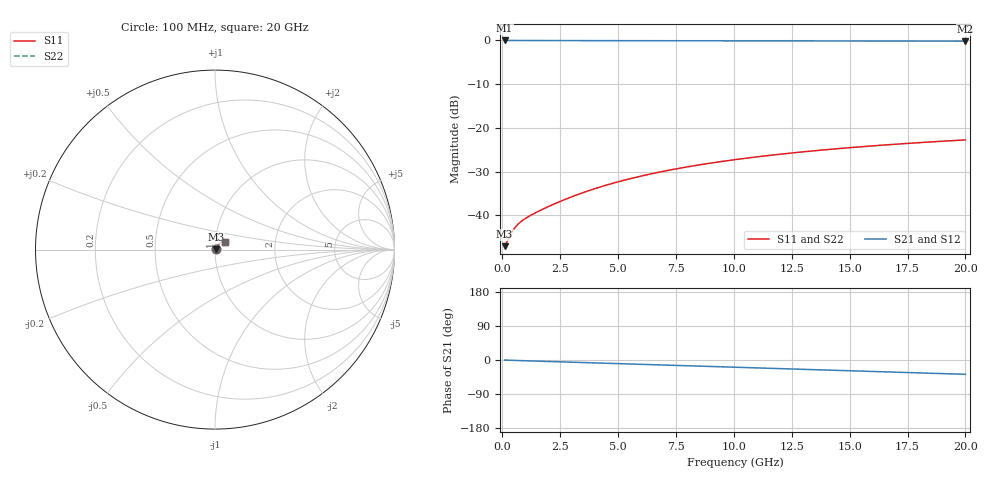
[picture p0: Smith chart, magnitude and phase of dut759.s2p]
! Touchstone file exported from HFSS 2026.1.0
!  File:  C:/ffzhzh/LocalFiles/Ansys_Project_Files/temp_train_BSMRDL_759_1783168992_43440.aedt
!  Generated:  08:44:18 PM Jul  4, 2026
!  Design:  BSMRDL
!  Project:  temp_train_BSMRDL_759_1783168992_43440
! Variables:
!  h_bsmrdl = 2.56um
!  h_ox = 20um
!  h_rdl = 5um
!  h_sub = 80um
!  h_tmrdl = 5um
!  h_tsv = 80um
!  h_via = 3um
!  l_bsmrdl = 663.8um
!  l_sub = 1063.8um
!  l_tmrdl = 200um
!  m_sub = 200um
!  pitch = 27.59um
!  r_tsv = 6um
!  s_tmrdl = 10um
!  w_bsmrdl = 22.76um
!  w_sub = 500um
!  w_tmrdl = 12um
!  x_tsv_center1 = 206um
!  x_tsv_center2 = 892.56um
!  x_tsv_center3 = 1104.56um
!  x_tsv_center4 = 1791.12um
!  x_tsv_center5 = 2003.12um
!  x_tsv_center6 = 2689.68um
# GHz S MA R 50.000000
! Terminal data exported
! Port[1] = BSM_RDL1_1_T1
! Port[2] = BSM_RDL1_1_T2
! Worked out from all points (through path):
!   200 points, 100 MHz to 20 GHz, reference 50 ohm
!   highest |S21| = -0.04 dB at 100 MHz (marker M1); lowest = -0.2 dB at 20 GHz (marker M2)
!   group delay of S21, straight-line fit = 5.24 ps
!   lowest |S11| = -47.0 dB at 100 MHz (marker M3), VSWR 1.01, Z = 50.4 + j0.103 ohm
!   |S11| at or under -10 dB: start of sweep to end of sweep
!   |S22| runs from -47.0 to -22.8 dB; largest |S21 - S12| = 4.1e-15
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0.1  0.004459 13.3  0.9957 -0.2  0.9957 -0.2  0.004459 13.3
! Gamma 0 0 0 0
! Port Impedance 50 0 50 0
0.3  0.0057 28.8  0.995 -0.7  0.995 -0.7  0.005701 28.8
0.4  0.006386 32.1  0.9946 -0.9  0.9946 -0.9  0.006385 32.1
0.5  0.007009 34.1  0.9943 -1.1  0.9943 -1.1  0.007008 34.1
0.6  0.00756 35.5  0.9939 -1.3  0.9939 -1.3  0.007558 35.4
0.7  0.008046 36.5  0.9936 -1.5  0.9936 -1.5  0.008044 36.5
0.9  0.008879 38.4  0.9932 -1.8  0.9932 -1.8  0.008876 38.4
1.3  0.01029 42.1  0.9927 -2.6  0.9927 -2.6  0.01028 42.1
2  0.01266 48.0  0.9922 -3.9  0.9922 -3.9  0.01266 48.1
2.7  0.0152 52.4  0.9918 -5.3  0.9918 -5.3  0.0152 52.4
3.5  0.01827 55.4  0.9914 -6.8  0.9914 -6.8  0.01826 55.5
4.2  0.02103 56.9  0.9909 -8.1  0.9909 -8.1  0.02102 57.0
5  0.02421 57.7  0.9904 -9.7  0.9904 -9.7  0.0242 57.8
5.9  0.02778 57.9  0.9898 -11.4  0.9898 -11.4  0.02777 58.0
6.8  0.03131 57.4  0.9891 -13.1  0.9891 -13.1  0.0313 57.6
8.4  0.03739 55.9  0.9877 -16.1  0.9877 -16.1  0.03738 56.0
10.1  0.04355 53.6  0.9862 -19.3  0.9862 -19.3  0.04353 53.8
11.7  0.04904 51.2  0.9848 -22.3  0.9848 -22.3  0.04901 51.4
13.4  0.05454 48.5  0.9833 -25.5  0.9833 -25.5  0.05451 48.7
15  0.05942 45.9  0.9819 -28.5  0.9819 -28.5  0.05938 46.1
16.7  0.0643 43.0  0.9805 -31.7  0.9805 -31.7  0.06425 43.3
20  0.07287 37.5  0.978 -37.8  0.978 -37.8  0.07281 37.8
